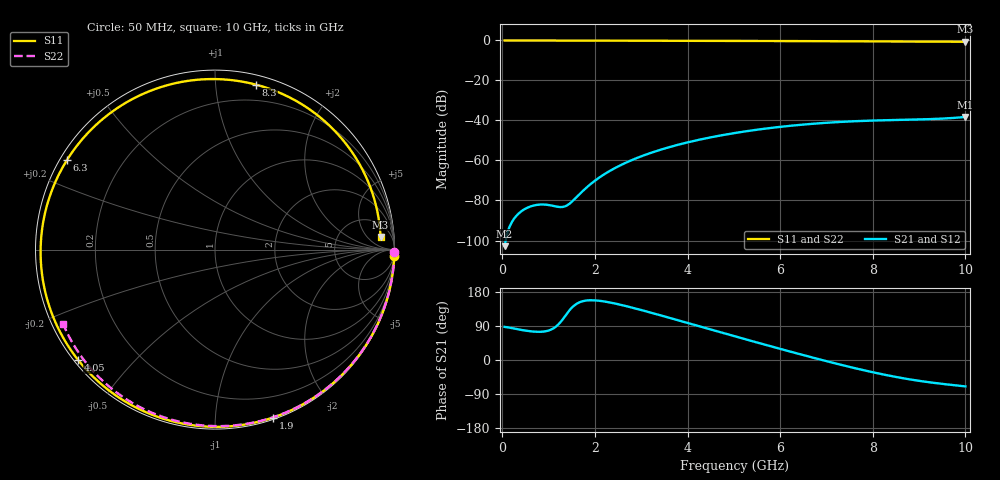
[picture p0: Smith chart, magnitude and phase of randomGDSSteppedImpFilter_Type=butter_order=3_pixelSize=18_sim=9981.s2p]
! freq	dB(S11)	phase(S11)	dB(S12)	phase(S12)
!  dB(S21)	phase(S21)	dB(S22)	phase(S22)
!S-par simulation data
#  GHz  S  DB  R 50
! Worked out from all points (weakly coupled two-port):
!   200 points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, 50 MHz to 10 GHz, reference 50 ohm
!   highest |S21| = -38.25 dB at 10 GHz (marker M1); lowest = -102.8 dB at 50 MHz (marker M2)
!   lowest |S11| = -0.7 dB at 10 GHz (marker M3), VSWR 25.73, Z = 652 + j642 ohm
!   |S11| at or under -10 dB: nowhere
!   |S22| runs from -0.5 to 0.0 dB; largest |S21 - S12| = 0
!   S11 on the Smith chart (normalised r, x): 50 MHz: 1, -58; 1.9 GHz: 0.02, -1.40; 4.05 GHz: 0.01, -0.35; 6.3 GHz: 0.02, +0.28; 8.3 GHz: 0.07, +1.28; 10 GHz: 13, +13
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0.05  -0.01 -2.0  -102.83 87.4  -102.83 87.4  -0.00 -0.9
0.7  -0.03 -27.0  -82.40 74.7  -82.40 74.7  -0.01 -12.4
1.5  -0.07 -56.7  -80.66 137.9  -80.66 137.9  -0.03 -26.4
1.75  -0.08 -65.7  -75.00 155.5  -75.00 155.5  -0.04 -30.7
1.9  -0.09 -71.0  -71.93 157.7  -71.93 157.7  -0.04 -33.2
2.2  -0.10 -81.4  -66.92 154.5  -66.92 154.5  -0.05 -38.3
2.55  -0.11 -93.2  -62.41 145.8  -62.41 145.8  -0.06 -44.2
3.4  -0.15 -120.8  -54.75 118.5  -54.75 118.5  -0.08 -58.2
4.05  -0.18 -141.1  -50.69 96.1  -50.69 96.1  -0.10 -68.6
4.55  -0.20 -156.4  -48.21 78.8  -48.21 78.8  -0.11 -76.4
5.05  -0.23 -171.7  -46.17 61.6  -46.17 61.6  -0.13 -84.0
5.7  -0.28 168.0  -44.02 39.5  -44.02 39.5  -0.16 -93.6
6.3  -0.32 148.6  -42.48 19.5  -42.48 19.5  -0.19 -102.3
6.7  -0.35 135.2  -41.66 6.5  -41.66 6.5  -0.21 -108.0
7.55  -0.41 104.9  -40.44 -19.7  -40.44 -19.7  -0.27 -120.0
7.95  -0.45 89.8  -40.08 -31.0  -40.08 -31.0  -0.30 -125.5
8.3  -0.47 76.0  -39.86 -40.0  -39.86 -40.0  -0.33 -130.3
8.35  -0.48 74.0  -39.83 -41.2  -39.83 -41.2  -0.34 -131.0
8.8  -0.52 55.7  -39.60 -51.2  -39.60 -51.2  -0.38 -137.2
9.25  -0.56 36.8  -39.31 -59.3  -39.31 -59.3  -0.43 -143.5
9.65  -0.61 19.7  -38.87 -65.1  -38.87 -65.1  -0.48 -149.0
10  -0.68 4.4  -38.25 -69.7  -38.25 -69.7  -0.52 -153.9
